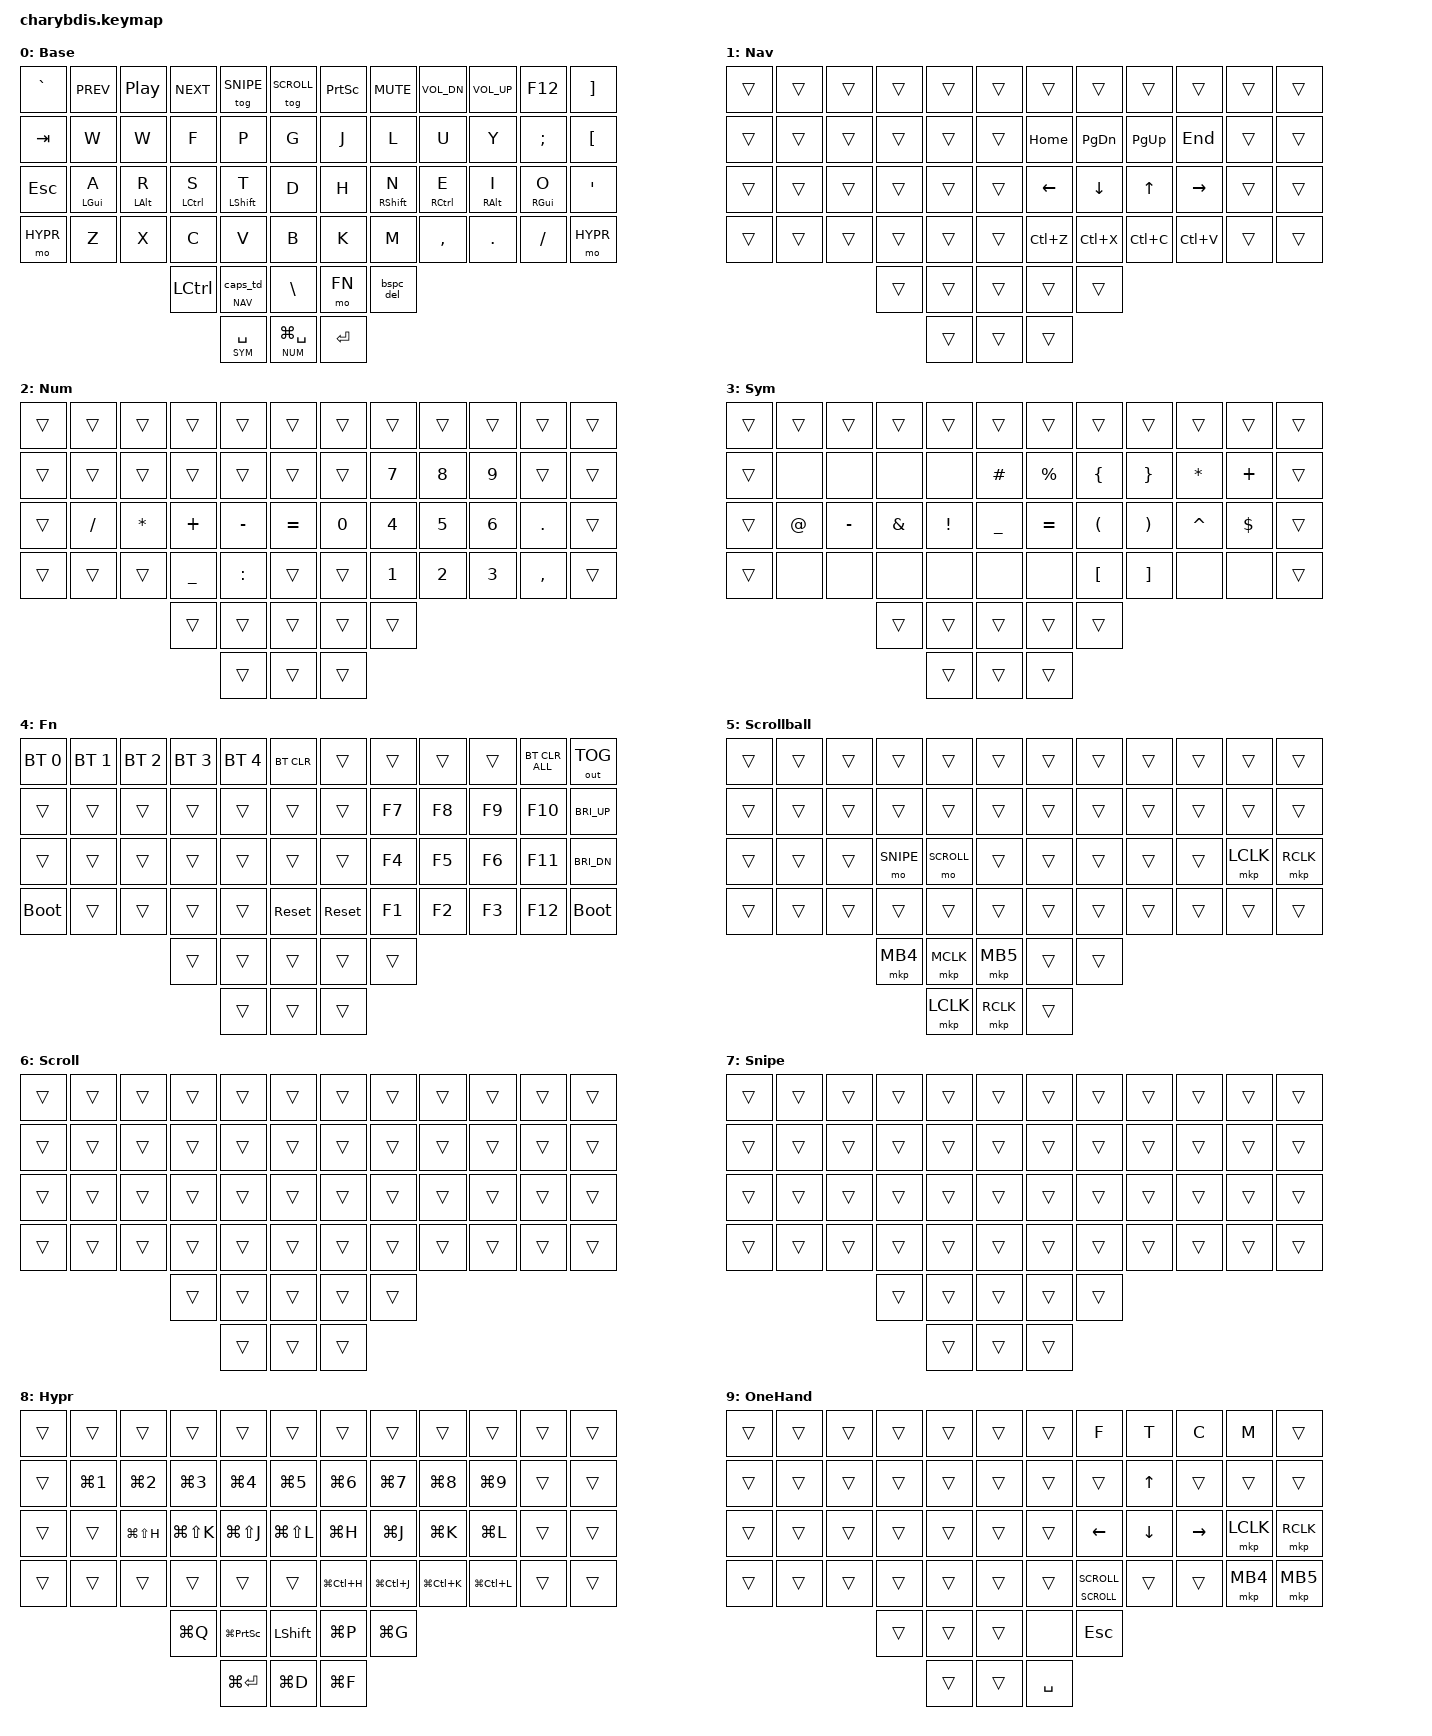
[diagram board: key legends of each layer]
#include <dt-bindings/zmk/mouse.h>
#include <input/processors.dtsi>
#include <zephyr/dt-bindings/input/input-event-codes.h>
#include <behaviors.dtsi>
#include <dt-bindings/zmk/bt.h>
#include <dt-bindings/zmk/keys.h>
#include <dt-bindings/zmk/outputs.h>
#include <dt-bindings/zmk/pointing.h>

#define ZMK_POINTING_DEFAULT_MOVE_VAL 1000
#define ZMK_POINTING_DEFAULT_SCRL_VAL 12
#define BASE   0
#define NAV    1
#define NUM    2
#define SYM    3
#define FN     4
#define MOUSE  5
#define SCROLL 6
#define SNIPE  7
#define HYPR    8
#define ONEHAND 9

&lt {
    tapping-term-ms = <200>;
    flavor = "balanced";
    quick-tap-ms = <150>;
};

&sk {
    release-after-ms = <600>;
    quick-release;
};

&mmv_input_listener { input-processors = <&zip_xy_scaler 2 1>; };

&msc_input_listener { input-processors = <&zip_scroll_scaler 2 1>; };

&msc {
    acceleration-exponent = <0>;
    time-to-max-speed-ms = <100>;
    delay-ms = <0>;
};

&mmv {
    time-to-max-speed-ms = <500>;
    acceleration-exponent = <1>;
    trigger-period-ms = <16>;
};

/ {
    behaviors {
        hml: home_row_mod_left {
            compatible = "zmk,behavior-hold-tap";
            #binding-cells = <2>;
            flavor = "balanced";
            tapping-term-ms = <200>;
            quick-tap-ms = <300>;
            require-prior-idle-ms = <150>;
            bindings = <&kp>, <&kp>;

            hold-trigger-key-positions = <6 7 8 9 10 11 18 19 20 21 22 23 30 31 32 33 34 35 42 43 44 45 46 47 48 49 50 51 52 53 54 55>;
            hold-trigger-on-release;
        };

        hmr: home_row_mod_right {
            compatible = "zmk,behavior-hold-tap";
            #binding-cells = <2>;
            flavor = "balanced";
            tapping-term-ms = <200>;
            quick-tap-ms = <300>;
            require-prior-idle-ms = <150>;
            bindings = <&kp>, <&kp>;

            hold-trigger-key-positions = <0 1 2 3 4 5 12 13 14 15 16 17 24 25 26 27 28 29 36 37 38 39 40 41 48 49 50 51 52 53 54 55>;
            hold-trigger-on-release;
        };

        bspc_del: backspace_delete {
            compatible = "zmk,behavior-mod-morph";
            #binding-cells = <0>;
            bindings = <&kp BSPC>, <&kp DEL>;

            mods = <(MOD_LSFT|MOD_RSFT)>;
        };

        // Умный caps: 1 тап = sticky shift, 2 тапа = Caps Word
        // (капс до конца слова), 3 тапа = Caps Lock (фиксированный).

        caps_td: caps_tap_dance {
            compatible = "zmk,behavior-tap-dance";
            #binding-cells = <0>;
            tapping-term-ms = <200>;
            bindings = <&sk LSHFT>, <&caps_word>, <&kp CAPS>;
        };

        // Тумб 49: hold = Nav, tap = caps-танец (tap-dance внутри hold-tap).

        ntd: nav_caps_dance {
            compatible = "zmk,behavior-hold-tap";
            #binding-cells = <2>;
            flavor = "balanced";
            tapping-term-ms = <200>;
            quick-tap-ms = <150>;
            bindings = <&mo>, <&caps_td>;
        };

        // Scroll-слой: hold = momentary (пока держишь — трекбол листает),
        // tap = toggle (вкл/выкл). Используется на OneHand.

        scrl_ht: scroll_hold_toggle {
            compatible = "zmk,behavior-hold-tap";
            #binding-cells = <2>;
            flavor = "balanced";
            tapping-term-ms = <200>;
            bindings = <&mo>, <&tog>;
        };
    };

    combos {
        compatible = "zmk,combos";

        // One-hand «пульт»: комбо двух правых thumb-клавиш (внешняя Bspc + нижняя)
        // вкл/выкл слой ONEHAND. Работает и на BASE (включить), и на ONEHAND (выключить).

        combo_onehand {
            bindings = <&tog ONEHAND>;
            key-positions = <52 55>;
            timeout-ms = <50>;
            require-prior-idle-ms = <100>;
            layers = <BASE ONEHAND>;
        };

        // Hypr: сжать два правых тамба (Full 52 + Flt 55) → блокировка экрана.

        combo_hypr_lock {
            bindings = <&kp LG(C)>;
            key-positions = <52 55>;
            timeout-ms = <50>;
            require-prior-idle-ms = <100>;
            layers = <HYPR>;
        };

        // Шаблоны для будущих комбо (раскомментируй и подбери позиции):
        // combo_lpar { bindings = <&kp LPAR>; key-positions = <39 40>; timeout-ms = <40>; require-prior-idle-ms = <100>; };
        // combo_rpar { bindings = <&kp RPAR>; key-positions = <40 41>; timeout-ms = <40>; require-prior-idle-ms = <100>; };
    };

    keymap {
        compatible = "zmk,keymap";

        base {
            display-name = "Base";
            bindings = <
&kp GRAVE   &kp C_PREV   &kp C_PP     &kp C_NEXT    &tog SNIPE     &tog SCROLL          &kp PRINTSCREEN  &kp C_MUTE    &kp C_VOL_DN  &kp C_VOL_UP  &kp F12        &kp RBKT
&kp TAB     &kp W        &kp W        &kp F         &kp P          &kp G                &kp J            &kp L         &kp U         &kp Y         &kp SEMICOLON  &kp LBKT
&kp ESCAPE  &hml LGUI A  &hml LALT R  &hml LCTRL S  &hml LSHFT T   &kp D                &kp H            &hmr RSHFT N  &hmr RCTRL E  &hmr RALT I   &hmr RGUI O    &kp SQT
&mo HYPR    &kp Z        &kp X        &kp C         &kp V          &kp B                &kp K            &kp M         &kp COMMA     &kp DOT       &kp FSLH       &mo HYPR
                                      &kp LCTRL     &ntd NAV 0     &kp BSLH             &mo FN           &bspc_del
                                                    &lt SYM SPACE  &lt NUM LG(SPACE)    &kp ENTER
            >;
        };

        nav {
            display-name = "Nav";
            bindings = <
&trans  &trans  &trans  &trans  &trans  &trans    &trans     &trans     &trans     &trans     &trans  &trans
&trans  &trans  &trans  &trans  &trans  &trans    &kp HOME   &kp PG_DN  &kp PG_UP  &kp END    &trans  &trans
&trans  &trans  &trans  &trans  &trans  &trans    &kp LEFT   &kp DOWN   &kp UP     &kp RIGHT  &trans  &trans
&trans  &trans  &trans  &trans  &trans  &trans    &kp LC(Z)  &kp LC(X)  &kp LC(C)  &kp LC(V)  &trans  &trans
                        &trans  &trans  &trans    &trans     &trans
                                &trans  &trans    &trans
            >;
        };

        // Numpad справа + разделители на мизинце (точка home, запятая ниже),
        // операторный ряд на левом home, _ и : под ним.

        num {
            display-name = "Num";
            bindings = <
&trans  &trans     &trans     &trans          &trans     &trans       &trans  &trans  &trans  &trans  &trans     &trans
&trans  &trans     &trans     &trans          &trans     &trans       &trans  &kp N7  &kp N8  &kp N9  &trans     &trans
&trans  &kp SLASH  &kp ASTRK  &kp PLUS        &kp MINUS  &kp EQUAL    &kp N0  &kp N4  &kp N5  &kp N6  &kp DOT    &trans
&trans  &trans     &trans     &kp UNDERSCORE  &kp COLON  &trans       &trans  &kp N1  &kp N2  &kp N3  &kp COMMA  &trans
                              &trans          &trans     &trans       &trans  &trans
                                              &trans     &trans       &trans
            >;
        };

        // Один Sym на оба языка — только «сироты», дубли базы не живут.
        // Левый home по-русски: " - ? ! (слоты @ - & !). Правый: = ( ) + русские : ;
        // (слоты ^ $). Скобки стопкой на указательном/среднем: { } / ( ) / [ ].

        sym {
            display-name = "Sym";
            bindings = <
&trans  &trans  &trans     &trans    &trans    &trans       &trans     &trans    &trans    &trans     &trans    &trans
&trans  &none   &none      &none     &none     &kp HASH     &kp PRCNT  &kp LBRC  &kp RBRC  &kp ASTRK  &kp PLUS  &trans
&trans  &kp AT  &kp MINUS  &kp AMPS  &kp EXCL  &kp UNDER    &kp EQUAL  &kp LPAR  &kp RPAR  &kp CARET  &kp DLLR  &trans
&trans  &none   &none      &none     &none     &none        &none      &kp LBKT  &kp RBKT  &none      &none     &trans
                           &trans    &trans    &trans       &trans     &trans
                                     &trans    &trans       &trans
            >;
        };

        fn {
            display-name = "Fn";
            bindings = <
&bt BT_SEL 0  &bt BT_SEL 1  &bt BT_SEL 2  &bt BT_SEL 3  &bt BT_SEL 4  &bt BT_CLR    &trans      &trans  &trans  &trans  &bt BT_CLR_ALL  &out OUT_TOG
&trans        &trans        &trans        &trans        &trans        &trans        &trans      &kp F7  &kp F8  &kp F9  &kp F10         &kp C_BRI_UP
&trans        &trans        &trans        &trans        &trans        &trans        &trans      &kp F4  &kp F5  &kp F6  &kp F11         &kp C_BRI_DN
&bootloader   &trans        &trans        &trans        &trans        &sys_reset    &sys_reset  &kp F1  &kp F2  &kp F3  &kp F12         &bootloader
                                          &trans        &trans        &trans        &trans      &trans
                                                        &trans        &trans        &trans
            >;
        };

        mouse {
            display-name = "Scrollball";
            bindings = <
&trans  &trans  &trans  &trans     &trans      &trans       &trans  &trans  &trans  &trans  &trans     &trans
&trans  &trans  &trans  &trans     &trans      &trans       &trans  &trans  &trans  &trans  &trans     &trans
&trans  &trans  &trans  &mo SNIPE  &mo SCROLL  &trans       &trans  &trans  &trans  &trans  &mkp LCLK  &mkp RCLK
&trans  &trans  &trans  &trans     &trans      &trans       &trans  &trans  &trans  &trans  &trans     &trans
                        &mkp MB4   &mkp MCLK   &mkp MB5     &trans  &trans
                                   &mkp LCLK   &mkp RCLK    &trans
            >;
        };

        scroll {
            display-name = "Scroll";
            bindings = <
&trans  &trans  &trans  &trans  &trans  &trans    &trans  &trans  &trans  &trans  &trans  &trans
&trans  &trans  &trans  &trans  &trans  &trans    &trans  &trans  &trans  &trans  &trans  &trans
&trans  &trans  &trans  &trans  &trans  &trans    &trans  &trans  &trans  &trans  &trans  &trans
&trans  &trans  &trans  &trans  &trans  &trans    &trans  &trans  &trans  &trans  &trans  &trans
                        &trans  &trans  &trans    &trans  &trans
                                &trans  &trans    &trans
            >;
        };

        snipe {
            display-name = "Snipe";
            bindings = <
&trans  &trans  &trans  &trans  &trans  &trans    &trans  &trans  &trans  &trans  &trans  &trans
&trans  &trans  &trans  &trans  &trans  &trans    &trans  &trans  &trans  &trans  &trans  &trans
&trans  &trans  &trans  &trans  &trans  &trans    &trans  &trans  &trans  &trans  &trans  &trans
&trans  &trans  &trans  &trans  &trans  &trans    &trans  &trans  &trans  &trans  &trans  &trans
                        &trans  &trans  &trans    &trans  &trans
                                &trans  &trans    &trans
            >;
        };

        // Hypr — «кокпит» управления окнами Hyprland. Входишь удержанием нижнего
        // угла (&mo HYPR) свободной рукой. Верхний ряд = воркспейсы 1–9 одной
        // строкой. Левый home = перенос окна (Super+Shift+hjkl), правый home =
        // фокус (Super+hjkl), правый низ = ресайз (Super+Ctrl+hjkl).
        // Левый тамб: Term/Run (низ), Kill/Shot/Shift (верх). Правый тамб: Pseu/
        // Full/Flt, а Full+Flt вместе (combo) = Lock. Нужны бинды в hyprland.conf.

        hypr {
            display-name = "Hypr";
            bindings = <
&trans  &trans      &trans         &trans         &trans               &trans           &trans         &trans         &trans         &trans         &trans  &trans
&trans  &kp LG(N1)  &kp LG(N2)     &kp LG(N3)     &kp LG(N4)           &kp LG(N5)       &kp LG(N6)     &kp LG(N7)     &kp LG(N8)     &kp LG(N9)     &trans  &trans
&trans  &trans      &kp LG(LS(H))  &kp LG(LS(K))  &kp LG(LS(J))        &kp LG(LS(L))    &kp LG(H)      &kp LG(J)      &kp LG(K)      &kp LG(L)      &trans  &trans
&trans  &trans      &trans         &trans         &trans               &trans           &kp LG(LC(H))  &kp LG(LC(J))  &kp LG(LC(K))  &kp LG(LC(L))  &trans  &trans
                                   &kp LG(Q)      &kp LG(PRINTSCREEN)  &kp LSHFT        &kp LG(P)      &kp LG(G)
                                                  &kp LG(RET)          &kp LG(D)        &kp LG(F)
            >;
        };

        // One-hand «пульт» (YouTube): правую половину в руку. Toggle = комбо двух
        // правых тумбов (с базы Bspc+Enter, изнутри Esc+Space). Медиа-ряд сверху
        // (F T C M), стрелки перевёрнутым Т, мышиный блок 2×2 справа.

        onehand {
            display-name = "OneHand";
            bindings = <
&trans  &trans  &trans  &trans  &trans  &trans    &trans     &kp F                   &kp T     &kp C      &kp M      &trans
&trans  &trans  &trans  &trans  &trans  &trans    &trans     &trans                  &kp UP    &trans     &trans     &trans
&trans  &trans  &trans  &trans  &trans  &trans    &trans     &kp LEFT                &kp DOWN  &kp RIGHT  &mkp LCLK  &mkp RCLK
&trans  &trans  &trans  &trans  &trans  &trans    &trans     &scrl_ht SCROLL SCROLL  &trans    &trans     &mkp MB4   &mkp MB5
                        &trans  &trans  &trans    &none      &kp ESC
                                &trans  &trans    &kp SPACE
            >;
        };
    };
};
